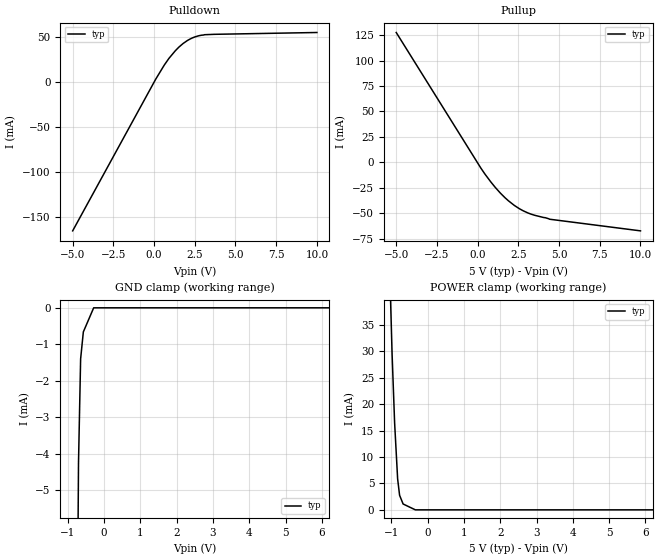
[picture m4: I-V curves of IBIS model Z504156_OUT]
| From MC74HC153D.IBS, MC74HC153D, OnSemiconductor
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| (C) COPYRIGHT 1993-2000
| MENTOR GRAPHICS CORPORATION
| ICX STANDARD LIBRARY, ICX PROJECT MODELING,
| ICX CUSTOM MODELING, ICX VENDOR MODEL
| ALL RIGHTS RESERVED.
| THE FOLLOWING ARE TRADEMARKS OR SERVICE MARKS OF
| MENTOR GRAPHICS CORPORATION:ICX (R), ICX STANDARD
| LIBRARY(R), ICX PROJECT MODELING(R), ICX CUSTOM
| MODELING(R), qualityIBIS(TM), MODELVIEWER(TM),
| AND MODELEDITOR(TM)
| ALL COPIES OF SOFTWARE, INCLUDING BUT NOT LIMITED TO
| ANY MODIFICATIONS, ENHANCEMENTS OR DERIVATIVE WORKS,
| MUST CONTAIN ALL MENTOR GRAPHICS CORPORATION'S
| NOTICES AND LEGENDS, INCLUDING THOSE EMBEDDED IN
| SOFTWARE AND THOSE AFFIXED TO SOFTWARE MEDIUM
| AND CONTAINER, AS RECEIVED FROM MENTOR GRAPHICS
| CORPORATION.
| Model Application Version 1.89 2/18/99.
[Model] Z504156_OUT
Model_type Output
Vref=0.000V
Rref=500.0Mohms
Cref=50.00pF
Vmeas=2.500V
C_comp 8.000pF NA NA
| variable typ   min   max
[Voltage Range] 5.000V NA NA
[POWER Clamp Reference] 5.000V NA NA
[Pullup Reference] 5.000V NA NA
[Pulldown Reference] 0.000V NA NA
[GND Clamp Reference] 0.000V NA NA
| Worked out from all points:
|   slope of the pulldown table from 0 to 0.75 V, typ, clamps not added: 33.7 ohm
|   slope of the pullup table from 0 to 0.75 V, typ, clamps not added: 43.1 ohm
|   GND clamp passes 1 mA (typ) near -0.60 V on its own axis
[GND Clamp]
-5V       -391.9mA   NA         NA
-1.225V   -71.33mA   NA         NA
-1.016V   -49.54mA   NA         NA
-702.9mV  -4.264mA   NA         NA
-644.4mV  -1.403mA   NA         NA
-569.6mV  -661.6uA   NA         NA
-284.8mV  0A         NA         NA
10V       0A         NA         NA
[Pulldown]
-5V       -165.6mA   NA         NA
102.5mV   3.525mA    NA         NA
625.1mV   19.16mA    NA         NA
914mV     26.68mA    NA         NA
1.305V    35.16mA    NA         NA
1.778V    43.17mA    NA         NA
2.366V    49.56mA    NA         NA
3.105V    53.04mA    NA         NA
10V       55.49mA    NA         NA
[Pullup]
-5V       127.7mA    NA         NA
196mV     -5.671mA   NA         NA
1.074V    -24.54mA   NA         NA
1.895V    -37.93mA   NA         NA
2.569V    -45.73mA   NA         NA
3.101V    -49.94mA   NA         NA
4.414V    -56mA      NA         NA
10V       -67.46mA   NA         NA
[POWER Clamp]
-5V       1.225A     NA         NA
-1.132V   67mA       NA         NA
-977mV    29.38mA    NA         NA
-908mV    16.46mA    NA         NA
-825mV    5.859mA    NA         NA
-771mV    2.756mA    NA         NA
-674mV    1.106mA    NA         NA
-337mV    0A         NA         NA
10V       0A         NA         NA
[Ramp]
| variable typ min max
dV/dt_r 2.792/1.439n NA NA
dV/dt_f 2.792/1.110n NA NA
R_load = 500.0Ohms
